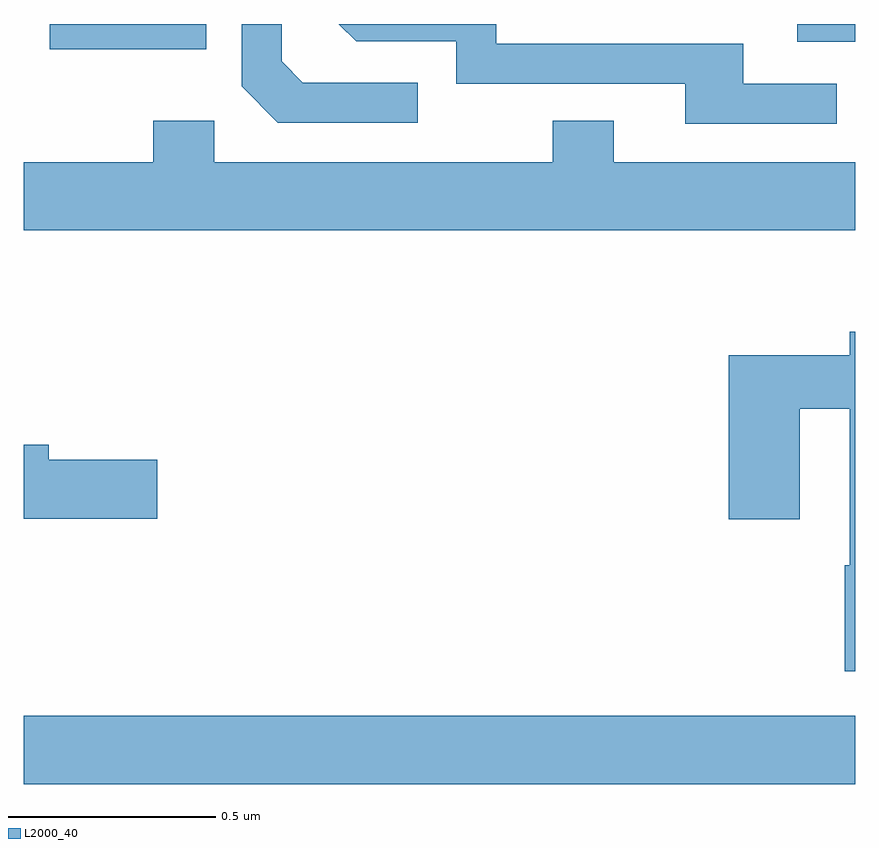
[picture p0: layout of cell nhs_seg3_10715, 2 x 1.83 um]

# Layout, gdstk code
import gdstk
lib = gdstk.Library(unit=1e-6, precision=1e-09)
def R(c, l, rs):  # rectangles x0, y0, x1, y1
    for r in rs: c.add(gdstk.rectangle(r[:2], r[2:], *l))
def P(c, l, *ps):  # polygons
    for p in ps: c.add(gdstk.Polygon(p, *l))
L2000_40 = (2000, 40)

nhs_seg3_10715 = lib.new_cell('nhs_seg3_10715')
R(nhs_seg3_10715, L2000_40, [(244,711.572,246,711.736), (244.062,713.339,244.439,713.4), (245.861,713.357,246,713.4)])
P(nhs_seg3_10715, L2000_40, [(245.956,713.256),(245.731,713.256),(245.731,713.352),(245.136,713.352),(245.136,713.4),(244.758,713.4),(244.8,713.358),(245.04,713.358),(245.04,713.256),(245.591,713.256),(245.591,713.16),(245.956,713.16)],
  [(244.948,713.259),(244.671,713.259),(244.62,713.31),(244.62,713.4),(244.524,713.4),(244.524,713.25),(244.611,713.163),(244.948,713.163)],
  [(246,713.068),(245.419,713.068),(245.419,713.167),(245.272,713.167),(245.272,713.068),(244.458,713.068),(244.458,713.167),(244.312,713.167),(244.312,713.068),(244,713.068),(244,712.904),(246,712.904)],
  [(246,712.66),(245.987,712.66),(245.987,712.603),(245.696,712.603),(245.696,712.209),(245.866,712.209),(245.866,712.474),(245.987,712.474),(245.987,712.098),(245.975,712.098),(245.975,711.843),(246,711.843)],
  [(244.321,712.352),(244.06,712.352),(244.06,712.388),(244,712.388),(244,712.21),(244.321,712.21)])

lib.write_gds('nhs_seg3_10715.gds')
